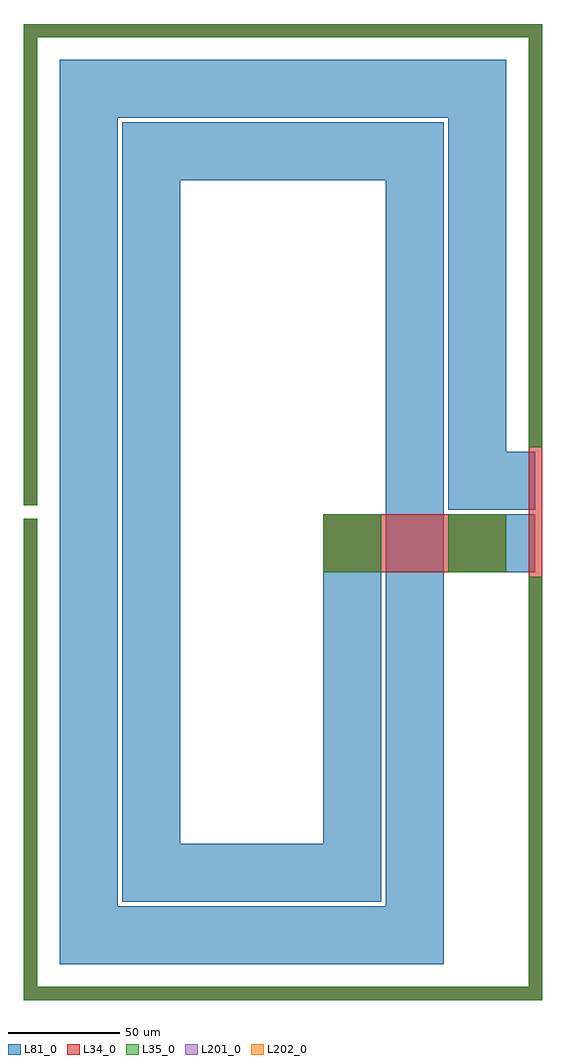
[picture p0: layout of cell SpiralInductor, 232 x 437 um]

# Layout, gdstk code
import gdstk
lib = gdstk.Library(unit=1e-6, precision=1e-09)
def R(c, l, rs):  # rectangles x0, y0, x1, y1
    for r in rs: c.add(gdstk.rectangle(r[:2], r[2:], *l))
def P(c, l, *ps):  # polygons
    for p in ps: c.add(gdstk.Polygon(p, *l))
L34_0 = (34, 0)
L35_0 = (35, 0)
L81_0 = (81, 0)
L201_0 = (201, 0)
L202_0 = (202, 0)

spiralinductor = lib.new_cell('SpiralInductor')
R(spiralinductor, L34_0, [(-116,-218.5,-110,-3), (-116,-218.5,116,-212.5), (110,-218.5,116,-29), (110,-29,116,29), (18,-27,100,-1), (-116,3,-110,218.5), (110,29,116,218.5), (-116,212.5,116,218.5)])
R(spiralinductor, L35_0, [(-116,-218.5,-110,-3), (-116,-218.5,116,-212.5), (110,-218.5,116,-29), (18,-27,44,-1), (74,-27,100,-1), (-116,3,-110,218.5), (110,29,116,218.5), (-116,212.5,116,218.5)])
R(spiralinductor, L81_0, [(-116,-218.5,-110,-3), (-116,-218.5,116,-212.5), (110,-218.5,116,-29), (74,-27,113,-1), (-116,3,-110,218.5), (110,29,116,218.5), (-116,212.5,116,218.5)])
P(spiralinductor, L81_0, [(-100,-202.5),(-100,202.5),(100,202.5),(100,27),(113,27),(113,1),(74,1),(74,176.5),(-74,176.5),(-74,-176.5),(46,-176.5),(46,148.5),(-46,148.5),(-46,-148.5),(18,-148.5),(18,-1),(44,-1),(44,-174.5),(-72,-174.5),(-72,174.5),(72,174.5),(72,-202.5)])
P(spiralinductor, L201_0, [(113,1),(113,27),(113,27),(113,1)])
P(spiralinductor, L202_0, [(113,-27),(113,-1),(113,-1),(113,-27)])

lib.write_gds('SpiralInductor.gds')
